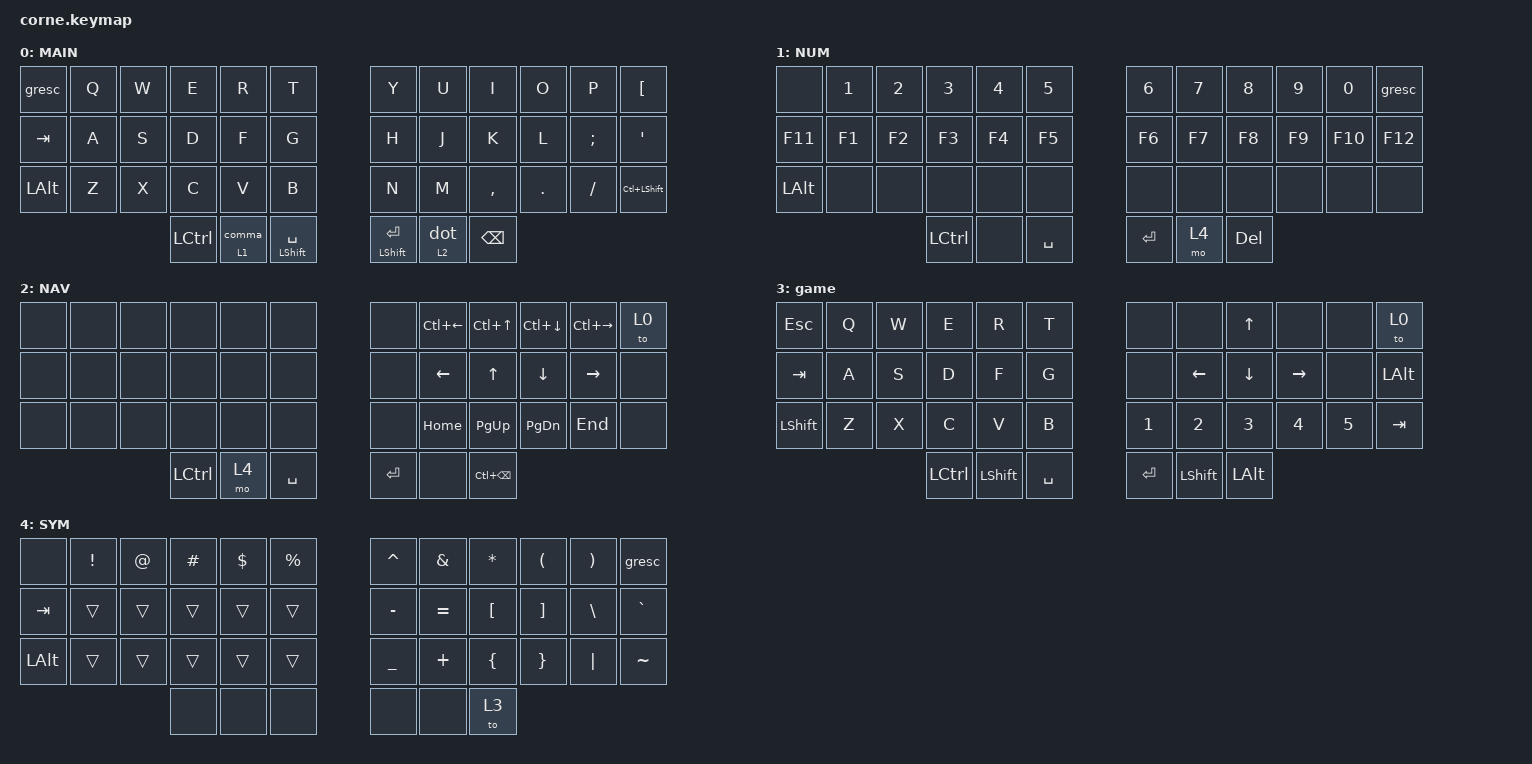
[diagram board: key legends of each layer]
/*
 * Copyright (c) 2020 The ZMK Contributors
 *
 * SPDX-License-Identifier: MIT
 */

#include <behaviors.dtsi>
#include <dt-bindings/zmk/keys.h>

&sk { quick-release; };

/ {
    combos {
        compatible = "zmk,combos";

        boot {
            bindings = <&bootloader>;
            key-positions = <24 35>;
            layers = <3>;
        };
    };

    macros {
        comma: comma {
            compatible = "zmk,behavior-macro";
            #binding-cells = <0>;
            bindings = <&kp LS(FSLH) &kp SPACE>;
            label = "COMMA";
            wait-ms = <20>;
            tap-ms = <20>;
        };

        dot: dot {
            compatible = "zmk,behavior-macro";
            #binding-cells = <0>;
            bindings = <&kp FSLH &kp SPACE &sk LSHIFT>;
            label = "DOT";
            wait-ms = <20>;
            tap-ms = <20>;
        };
    };

    behaviors {
        tap_comma: tap_comma {
            compatible = "zmk,behavior-hold-tap";
            label = "TAP_COMMA";
            bindings = <&mo>, <&comma>;

            #binding-cells = <2>;
            tapping-term-ms = <400>;
        };

        tap_dot: tap_dot {
            compatible = "zmk,behavior-hold-tap";
            label = "TAP_DOT";
            bindings = <&mo>, <&dot>;

            #binding-cells = <2>;
            tapping-term-ms = <400>;
        };
    };

    keymap {
        compatible = "zmk,keymap";

        main {
            // -----------------------------------------------------------------------------------------
            // |  TAB |  Q  |  W  |  E  |  R  |  T  |   |  Y  |  U   |  I  |  O  |  P  | BSPC |
            // | CTRL |  A  |  S  |  D  |  F  |  G  |   |  H  |  J   |  K  |  L  |  ;  |  '   |
            // | SHFT |  Z  |  X  |  C  |  V  |  B  |   |  N  |  M   |  ,  |  .  |  /  | ESC  |
            //                    | GUI | LWR | SPC |   | ENT | RSE  | ALT |

            bindings = <
&gresc        &kp Q  &kp W  &kp E      &kp R           &kp T                   &kp Y               &kp U         &kp I          &kp O    &kp P     &kp LEFT_BRACKET
&kp TAB       &kp A  &kp S  &kp D      &kp F           &kp G                   &kp H               &kp J         &kp K          &kp L    &kp SEMI  &kp SQT
&kp LEFT_ALT  &kp Z  &kp X  &kp C      &kp V           &kp B                   &kp N               &kp M         &kp COMMA      &kp DOT  &kp FSLH  &kp LC(LEFT_SHIFT)
                            &kp LCTRL  &tap_comma 1 0  &mt LEFT_SHIFT SPACE    &mt LEFT_SHIFT RET  &tap_dot 2 0  &kp BACKSPACE
            >;

            label = "MAIN";
        };

        num {
            // -----------------------------------------------------------------------------------------
            // |  TAB |  1  |  2  |  3  |  4  |  5  |   |  6  |  7  |  8  |  9  |  0  | BSPC |
            // | BTCLR| BT1 | BT2 | BT3 | BT4 | BT5 |   | LFT | DWN |  UP | RGT |     |      |
            // | SHFT |     |     |     |     |     |   |     |     |     |     |     |      |
            //                    | GUI |     | SPC |   | ENT |     | ALT |

            bindings = <
&none         &kp N1  &kp N2  &kp N3     &kp N4  &kp N5       &kp N6   &kp N7  &kp N8      &kp N9  &kp N0   &gresc
&kp F11       &kp F1  &kp F2  &kp F3     &kp F4  &kp F5       &kp F6   &kp F7  &kp F8      &kp F9  &kp F10  &kp F12
&kp LEFT_ALT  &none   &none   &none      &none   &none        &none    &none   &none       &none   &none    &none
                              &kp LCTRL  &none   &kp SPACE    &kp RET  &mo 4   &kp DELETE
            >;

            label = "NUM";
        };

        nav {
            bindings = <
&none  &none  &none  &none      &none  &none        &none    &kp LC(LEFT)  &kp LC(UP)         &kp LC(DOWN)  &kp LC(RIGHT)  &to 0
&none  &none  &none  &none      &none  &none        &none    &kp LEFT      &kp UP             &kp DOWN      &kp RIGHT      &none
&none  &none  &none  &none      &none  &none        &none    &kp HOME      &kp PG_UP          &kp PG_DN     &kp END        &none
                     &kp LCTRL  &mo 4  &kp SPACE    &kp RET  &none         &kp LC(BACKSPACE)
            >;

            label = "NAV";
        };

        game {
            bindings = <
&kp ESC    &kp Q  &kp W  &kp E             &kp R      &kp T        &none         &none      &kp UP    &none      &none   &to 0
&kp TAB    &kp A  &kp S  &kp D             &kp F      &kp G        &none         &kp LEFT   &kp DOWN  &kp RIGHT  &none   &kp LALT
&kp LSHFT  &kp Z  &kp X  &kp C             &kp V      &kp B        &kp NUMBER_1  &kp N2     &kp N3    &kp N4     &kp N5  &kp TAB
                         &kp LEFT_CONTROL  &kp LSHFT  &kp SPACE    &kp RET       &kp LSHFT  &kp LALT
            >;

            label = "game";
        };

        sym {
            // -----------------------------------------------------------------------------------------
            // |  TAB |  !  |  @  |  #  |  $  |  %  |   |  ^  |  &  |  *  |  (  |  )  | BSPC |
            // | CTRL |     |     |     |     |     |   |  -  |  =  |  [  |  ]  |  \  |  `   |
            // | SHFT |     |     |     |     |     |   |  _  |  +  |  {  |  }  | "|" |  ~   |
            //                    | GUI |     | SPC |   | ENT |     | ALT |

            bindings = <
&none         &kp EXCL  &kp AT  &kp HASH  &kp DLLR  &kp PRCNT    &kp CARET  &kp AMPS   &kp ASTRK  &kp LPAR  &kp RPAR  &gresc
&kp TAB       &trans    &trans  &trans    &trans    &trans       &kp MINUS  &kp EQUAL  &kp LBKT   &kp RBKT  &kp BSLH  &kp GRAVE
&kp LEFT_ALT  &trans    &trans  &trans    &trans    &trans       &kp UNDER  &kp PLUS   &kp LBRC   &kp RBRC  &kp PIPE  &kp TILDE
                                &none     &none     &none        &none      &none      &to 3
            >;

            label = "SYM";
        };
    };
};
